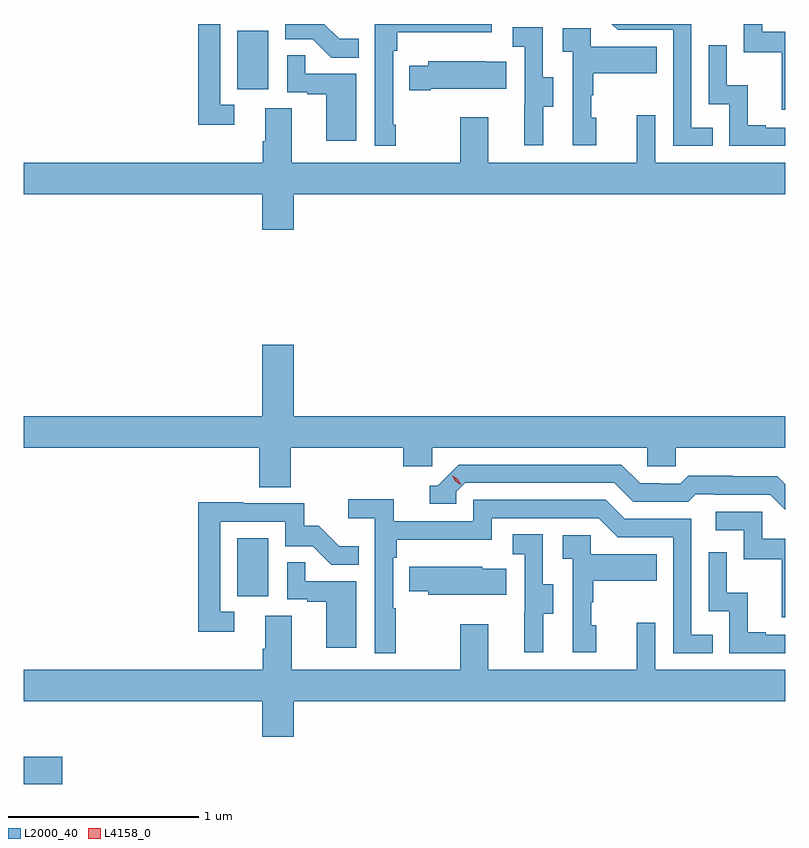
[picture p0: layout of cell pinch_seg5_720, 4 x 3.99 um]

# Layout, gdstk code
import gdstk
lib = gdstk.Library(unit=1e-6, precision=1e-09)
def R(c, l, rs):  # rectangles x0, y0, x1, y1
    for r in rs: c.add(gdstk.rectangle(r[:2], r[2:], *l))
def P(c, l, *ps):  # polygons
    for p in ps: c.add(gdstk.Polygon(p, *l))
L2000_40 = (2000, 40)
L4158_0 = (4158, 0)

pinch_seg5_720 = lib.new_cell('pinch_seg5_720')
R(pinch_seg5_720, L2000_40, [(1140.777,850.997,1140.979,851.139), (1141.898,851.982,1142.062,852.289), (1141.898,854.646,1142.062,854.953)])
P(pinch_seg5_720, L2000_40, [(1144.777,854.949),(1144.656,854.949),(1144.656,854.989),(1144.56,854.989),(1144.56,854.841),(1144.759,854.841),(1144.759,854.538),(1144.777,854.538)],
  [(1144.397,854.445),(1144.284,854.445),(1144.284,854.989),(1143.866,854.989),(1143.897,854.958),(1144.188,854.958),(1144.188,854.349),(1144.397,854.349)],
  [(1142.731,854.461),(1142.718,854.461),(1142.718,854.849),(1142.738,854.849),(1142.738,854.945),(1143.234,854.945),(1143.234,854.989),(1142.622,854.989),(1142.622,854.349),(1142.731,854.349)],
  [(1142.537,854.911),(1142.433,854.911),(1142.355,854.989),(1142.151,854.989),(1142.151,854.91),(1142.295,854.91),(1142.393,854.812),(1142.537,854.812)],
  [(1141.882,854.565),(1141.809,854.565),(1141.809,854.989),(1141.693,854.989),(1141.693,854.46),(1141.882,854.46)],
  [(1143.505,854.554),(1143.559,854.554),(1143.559,854.709),(1143.504,854.709),(1143.504,854.972),(1143.345,854.972),(1143.345,854.869),(1143.408,854.869),(1143.408,854.565),(1143.407,854.565),(1143.407,854.352),(1143.505,854.352)],
  [(1143.784,854.496),(1143.759,854.496),(1143.759,854.615),(1143.769,854.615),(1143.769,854.729),(1144.103,854.729),(1144.103,854.869),(1143.756,854.869),(1143.756,854.967),(1143.609,854.967),(1143.609,854.843),(1143.66,854.843),(1143.66,854.352),(1143.784,854.352)],
  [(1144.777,854.445),(1144.675,854.445),(1144.675,854.458),(1144.58,854.458),(1144.58,854.666),(1144.47,854.666),(1144.47,854.878),(1144.374,854.878),(1144.374,854.568),(1144.482,854.568),(1144.482,854.349),(1144.777,854.349)],
  [(1142.524,854.727),(1142.255,854.727),(1142.255,854.825),(1142.16,854.825),(1142.16,854.631),(1142.267,854.631),(1142.267,854.619),(1142.366,854.619),(1142.366,854.376),(1142.524,854.376)],
  [(1142.914,854.648),(1143.311,854.648),(1143.311,854.791),(1143.203,854.791),(1143.203,854.794),(1142.901,854.794),(1142.901,854.77),(1142.803,854.77),(1142.803,854.641),(1142.914,854.641)],
  [(1142.194,854.096),(1144.777,854.096),(1144.777,854.26),(1144.095,854.26),(1144.095,854.509),(1143.998,854.509),(1143.998,854.26),(1143.217,854.26),(1143.217,854.5),(1143.07,854.5),(1143.07,854.26),(1142.185,854.26),(1142.185,854.546),(1142.045,854.546),(1142.045,854.372),(1142.033,854.372),(1142.033,854.26),(1140.777,854.26),(1140.777,854.096),(1142.03,854.096),(1142.03,853.908),(1142.194,853.908)],
  [(1142.18,852.764),(1142.771,852.764),(1142.771,852.666),(1142.922,852.666),(1142.922,852.764),(1144.053,852.764),(1144.053,852.666),(1144.203,852.666),(1144.203,852.764),(1144.777,852.764),(1144.777,852.928),(1142.194,852.928),(1142.194,853.303),(1142.03,853.303),(1142.03,852.928),(1140.777,852.928),(1140.777,852.764),(1142.015,852.764),(1142.015,852.556),(1142.18,852.556)],
  [(1144.777,852.572),(1144.736,852.613),(1144.5,852.613),(1144.5,852.616),(1144.267,852.616),(1144.225,852.573),(1144.122,852.573),(1144.122,852.576),(1144.015,852.576),(1143.916,852.675),(1143.063,852.675),(1142.952,852.564),(1142.909,852.564),(1142.909,852.468),(1143.048,852.468),(1143.048,852.531),(1143.096,852.579),(1143.879,852.579),(1143.978,852.48),(1144.267,852.48),(1144.306,852.519),(1144.405,852.519),(1144.405,852.516),(1144.698,852.516),(1144.777,852.437)],
  [(1142.731,851.921),(1142.718,851.921),(1142.718,852.185),(1142.737,852.185),(1142.737,852.281),(1143.234,852.281),(1143.234,852.393),(1143.798,852.393),(1143.897,852.294),(1144.188,852.294),(1144.188,851.685),(1144.397,851.685),(1144.397,851.781),(1144.284,851.781),(1144.284,852.39),(1143.934,852.39),(1143.835,852.489),(1143.138,852.489),(1143.138,852.378),(1142.72,852.378),(1142.72,852.494),(1142.481,852.494),(1142.481,852.392),(1142.622,852.392),(1142.622,851.685),(1142.731,851.685)],
  [(1141.882,851.901),(1141.809,851.901),(1141.809,852.375),(1142.151,852.375),(1142.151,852.246),(1142.295,852.246),(1142.393,852.148),(1142.537,852.148),(1142.537,852.247),(1142.433,852.247),(1142.326,852.354),(1142.25,852.354),(1142.25,852.471),(1141.931,852.471),(1141.931,852.476),(1141.693,852.476),(1141.693,851.796),(1141.882,851.796)],
  [(1144.777,852.285),(1144.656,852.285),(1144.656,852.426),(1144.413,852.426),(1144.413,852.33),(1144.56,852.33),(1144.56,852.177),(1144.759,852.177),(1144.759,851.874),(1144.777,851.874)],
  [(1143.505,851.89),(1143.559,851.89),(1143.559,852.045),(1143.504,852.045),(1143.504,852.308),(1143.345,852.308),(1143.345,852.205),(1143.408,852.205),(1143.408,851.901),(1143.407,851.901),(1143.407,851.688),(1143.505,851.688)],
  [(1143.784,851.832),(1143.759,851.832),(1143.759,851.951),(1143.769,851.951),(1143.769,852.065),(1144.103,852.065),(1144.103,852.205),(1143.756,852.205),(1143.756,852.303),(1143.609,852.303),(1143.609,852.179),(1143.66,852.179),(1143.66,851.688),(1143.784,851.688)],
  [(1144.777,851.781),(1144.675,851.781),(1144.675,851.794),(1144.58,851.794),(1144.58,852.002),(1144.47,852.002),(1144.47,852.214),(1144.374,852.214),(1144.374,851.904),(1144.482,851.904),(1144.482,851.685),(1144.777,851.685)],
  [(1142.524,852.063),(1142.255,852.063),(1142.255,852.161),(1142.16,852.161),(1142.16,851.967),(1142.267,851.967),(1142.267,851.955),(1142.366,851.955),(1142.366,851.712),(1142.524,851.712)],
  [(1143.311,852.127),(1143.186,852.127),(1143.186,852.139),(1142.803,852.139),(1142.803,852.01),(1142.901,852.01),(1142.901,851.99),(1143.311,851.99)],
  [(1142.194,851.432),(1144.777,851.432),(1144.777,851.596),(1144.095,851.596),(1144.095,851.845),(1143.998,851.845),(1143.998,851.596),(1143.217,851.596),(1143.217,851.836),(1143.07,851.836),(1143.07,851.596),(1142.185,851.596),(1142.185,851.882),(1142.045,851.882),(1142.045,851.708),(1142.033,851.708),(1142.033,851.596),(1140.777,851.596),(1140.777,851.432),(1142.03,851.432),(1142.03,851.244),(1142.194,851.244)])
P(pinch_seg5_720, L4158_0, [(1143.074,852.566),(1143.043,852.586),(1143.027,852.619),(1143.027,852.619),(1143.027,852.619),(1143.058,852.599),(1143.074,852.567),(1143.074,852.566)])

lib.write_gds('pinch_seg5_720.gds')
